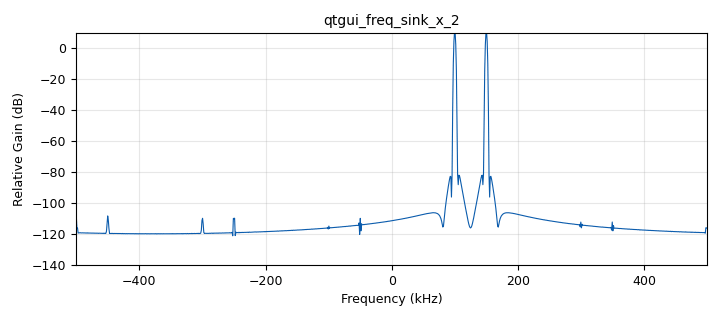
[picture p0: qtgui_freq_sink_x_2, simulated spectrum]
options:
  parameters:
    generate_options: qt_gui
    id: run_usrp_lo_offset_test
    output_language: python
    title: USRP LO offset test
  states: {}

blocks:
- name: dsp_freq
  id: variable
  parameters:
    value: 33e6
  states: {}
- name: freq
  id: variable
  parameters:
    value: int(2.45e+9)
  states: {}
- name: rx_gain
  id: variable_qtgui_range
  parameters:
    orient: Qt.Horizontal
    start: '0'
    step: '1'
    stop: '76'
    value: '60'
  states: {}
- name: samp_rate
  id: variable
  parameters:
    value: int(1e6)
  states: {}
- name: tx_gain
  id: variable_qtgui_range
  parameters:
    orient: Qt.Horizontal
    start: '0'
    step: '0.2'
    stop: '89'
    value: '35'
  states: {}
- name: analog_sig_source_x_0
  id: analog_sig_source_x
  parameters:
    amp: '10'
    freq: 100e3
    offset: '0'
    phase: '0'
    samp_rate: samp_rate
    type: complex
    waveform: analog.GR_SIN_WAVE
  states: {}
- name: analog_sig_source_x_0_0
  id: analog_sig_source_x
  parameters:
    amp: '10'
    freq: 150e3
    offset: '0'
    phase: '0'
    samp_rate: samp_rate
    type: complex
    waveform: analog.GR_SIN_WAVE
  states: {}
- name: blocks_add_xx_0
  id: blocks_add_xx
  parameters:
    type: complex
  states: {}
- name: blocks_complex_to_real_0
  id: blocks_complex_to_real
  parameters: {}
  states: {}
- name: blocks_complex_to_real_0_0
  id: blocks_complex_to_real
  parameters: {}
  states: {}
- name: blocks_null_source_0
  id: blocks_null_source
  parameters:
    type: complex
  states: {}
- name: qtgui_freq_sink_x_0
  id: qtgui_freq_sink_x
  parameters:
    bw: samp_rate
    fc: '0'
    fftsize: '1024'
    nconnections: '2'
    type: complex
    wintype: firdes.WIN_BLACKMAN_hARRIS
  states: {}
- name: qtgui_freq_sink_x_2
  id: qtgui_freq_sink_x
  parameters:
    bw: samp_rate
    fc: '0'
    fftsize: '1024'
    type: complex
    wintype: firdes.WIN_BLACKMAN_hARRIS
  states: {}
- name: qtgui_time_sink_x_0
  id: qtgui_time_sink_x
  parameters:
    autoscale: 'True'
    nconnections: '2'
    size: int(1024/4)
    srate: samp_rate
    type: float
  states: {}
- name: uhd_usrp_sink_0
  id: uhd_usrp_sink
  parameters:
    ant0: TX/RX
    ant1: TX/RX
    bw0: samp_rate
    bw1: samp_rate
    center_freq0: uhd.tune_request(freq, dsp_freq, dsp_freq_policy=uhd.tune_request.POLICY_MANUAL)
    center_freq1: uhd.tune_request(freq, dsp_freq, dsp_freq_policy=uhd.tune_request.POLICY_MANUAL)
    clock_source0: internal
    dev_args: '""'
    gain0: tx_gain
    gain1: tx_gain
    len_tag_name: ''
    nchan: '2'
    norm_gain0: 'False'
    norm_gain1: 'False'
    samp_rate: samp_rate
    sync: pc_clock
    type: fc32
  states: {}
- name: uhd_usrp_source_0_0
  id: uhd_usrp_source
  parameters:
    ant0: RX2
    ant1: RX2
    bw0: samp_rate
    bw1: samp_rate
    center_freq0: uhd.tune_request_t(freq, dsp_freq, dsp_freq_policy=uhd.tune_request.POLICY_MANUAL)
    center_freq1: uhd.tune_request(freq, dsp_freq, dsp_freq_policy=uhd.tune_request.POLICY_MANUAL)
    clock_source0: internal
    dc_offs_enb0: 'True'
    dc_offs_enb1: 'True'
    dev_args: '""'
    gain0: rx_gain
    gain1: rx_gain
    iq_imbal_enb0: 'True'
    iq_imbal_enb1: 'True'
    nchan: '2'
    norm_gain0: 'False'
    norm_gain1: 'False'
    samp_rate: samp_rate
    sync: pc_clock
    type: fc32
  states: {}

connections:
- [analog_sig_source_x_0, '0', blocks_add_xx_0, '0']
- [analog_sig_source_x_0_0, '0', blocks_add_xx_0, '1']
- [blocks_add_xx_0, '0', qtgui_freq_sink_x_2, '0']
- [blocks_add_xx_0, '0', uhd_usrp_sink_0, '0']
- [blocks_complex_to_real_0, '0', qtgui_time_sink_x_0, '0']
- [blocks_complex_to_real_0_0, '0', qtgui_time_sink_x_0, '1']
- [blocks_null_source_0, '0', uhd_usrp_sink_0, '1']
- [uhd_usrp_source_0_0, '0', blocks_complex_to_real_0, '0']
- [uhd_usrp_source_0_0, '0', qtgui_freq_sink_x_0, '0']
- [uhd_usrp_source_0_0, '1', blocks_complex_to_real_0_0, '0']
- [uhd_usrp_source_0_0, '1', qtgui_freq_sink_x_0, '1']

metadata:
  file_format: 1
